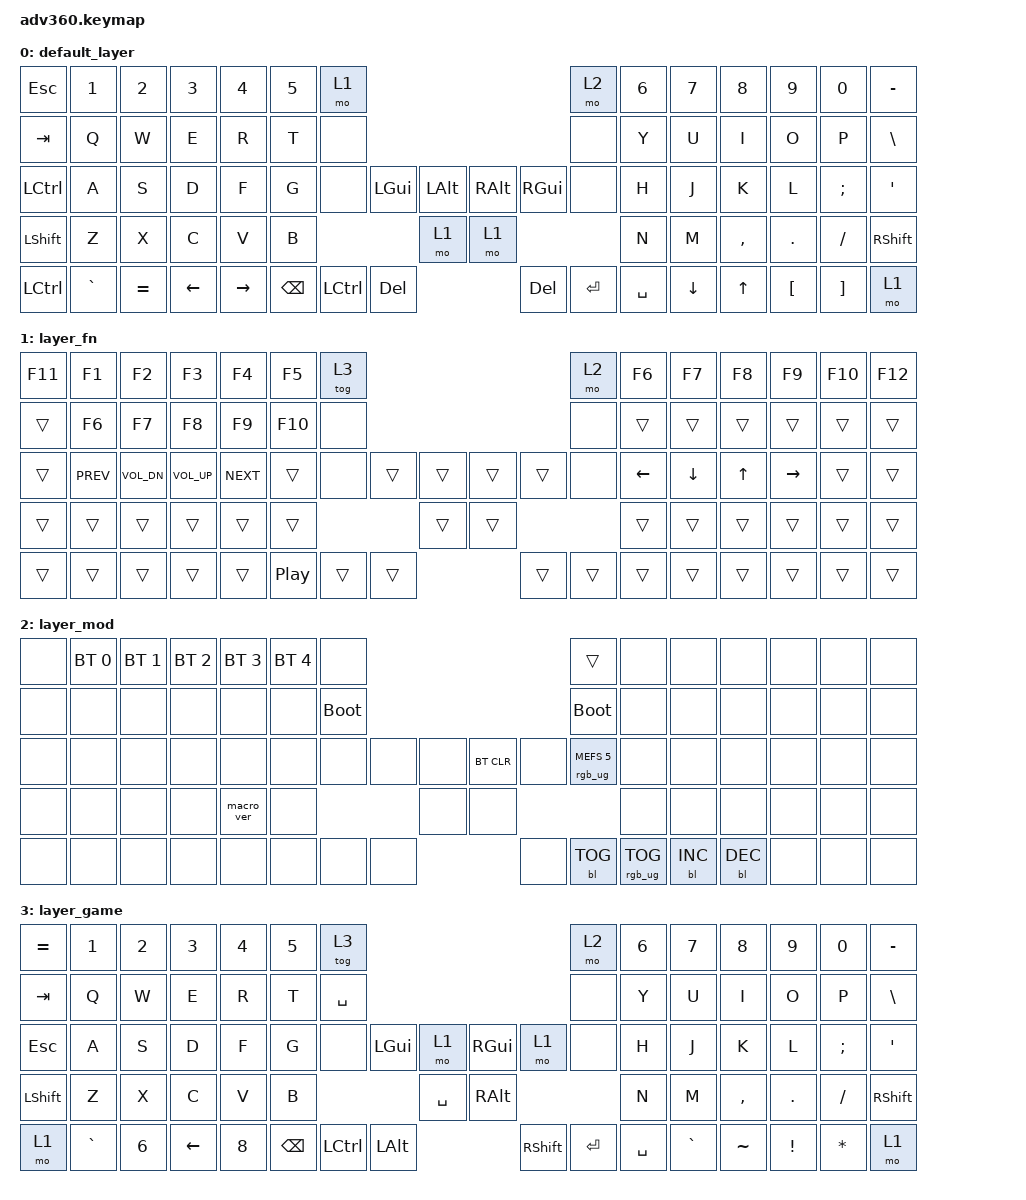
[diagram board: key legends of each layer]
/*
 * Copyright (c) 2020 The ZMK Contributors
 *
 * SPDX-License-Identifier: MIT
 */
/* THIS FILE WAS GENERATED!
 *
 * This file was generated automatically. You may or may not want to
 * edit it directly.
 */

#include <behaviors.dtsi>
#include <dt-bindings/zmk/backlight.h>
#include <dt-bindings/zmk/bt.h>
#include <dt-bindings/zmk/keys.h>
#include <dt-bindings/zmk/rgb.h>

/ {
    behaviors {
        #include "macros.dtsi"
    #include "version.dtsi"

        CARET1: CARET_1 {
            compatible = "zmk,behavior-mod-morph";
            label = "CARET_1";
            #binding-cells = <0>;
            bindings = <&kp N1>, <&kp CARET>;

            mods = <(MOD_LSFT|MOD_RSFT)>;
        };

        LBRC2: LBRC_2 {
            compatible = "zmk,behavior-mod-morph";
            label = "LBRC_2";
            #binding-cells = <0>;
            bindings = <&kp N2>, <&kp LBRC>;

            mods = <(MOD_LSFT|MOD_RSFT)>;
        };

        LBKT3: LBKT_3 {
            compatible = "zmk,behavior-mod-morph";
            label = "LBKT_3";
            #binding-cells = <0>;
            bindings = <&kp N3>, <&kp LBKT>;

            mods = <(MOD_LSFT|MOD_RSFT)>;
        };

        LPAR4: LPAR_4 {
            compatible = "zmk,behavior-mod-morph";
            label = "LPAR_4";
            #binding-cells = <0>;
            bindings = <&kp N4>, <&kp LPAR>;

            mods = <(MOD_LSFT|MOD_RSFT)>;
        };

        LT5: LT_5 {
            compatible = "zmk,behavior-mod-morph";
            label = "LT_5";
            #binding-cells = <0>;
            bindings = <&kp N5>, <&kp LT>;

            mods = <(MOD_LSFT|MOD_RSFT)>;
        };

        GT6: GT_6 {
            compatible = "zmk,behavior-mod-morph";
            label = "GT_6";
            #binding-cells = <0>;
            bindings = <&kp N6>, <&kp GT>;

            mods = <(MOD_LSFT|MOD_RSFT)>;
        };

        RPAR7: RPAR_7 {
            compatible = "zmk,behavior-mod-morph";
            label = "RPAR_7";
            #binding-cells = <0>;
            bindings = <&kp N7>, <&kp RPAR>;

            mods = <(MOD_LSFT|MOD_RSFT)>;
        };

        RBKT8: RBKT_8 {
            compatible = "zmk,behavior-mod-morph";
            label = "RBKT_8";
            #binding-cells = <0>;
            bindings = <&kp N8>, <&kp RBKT>;

            mods = <(MOD_LSFT|MOD_RSFT)>;
        };

        RBRC9: RBRC_9 {
            compatible = "zmk,behavior-mod-morph";
            label = "RBRC_9";
            #binding-cells = <0>;
            bindings = <&kp N9>, <&kp RBRC>;

            mods = <(MOD_LSFT|MOD_RSFT)>;
        };

        DLLR0: DLLR_0 {
            compatible = "zmk,behavior-mod-morph";
            label = "DLLR_0";
            #binding-cells = <0>;
            bindings = <&kp N0>, <&kp DLLR>;

            mods = <(MOD_LSFT|MOD_RSFT)>;
        };

        EXCLASTRK: EXCL_ASTRK {
            compatible = "zmk,behavior-mod-morph";
            label = "EXCL_ASTRK";
            #binding-cells = <0>;
            bindings = <&kp EXCL>, <&kp ASTRK>;

            mods = <(MOD_LSFT|MOD_RSFT)>;
        };

        AMPSPRCNT: AMPS_PRCNT {
            compatible = "zmk,behavior-mod-morph";
            label = "AMPS_PRCNT";
            #binding-cells = <0>;
            bindings = <&kp AMPS>, <&kp PRCNT>;

            mods = <(MOD_LSFT|MOD_RSFT)>;
        };

        ATHASH: AT_HASH {
            compatible = "zmk,behavior-mod-morph";
            label = "AT_HASH";
            #binding-cells = <0>;
            bindings = <&kp AT>, <&kp HASH>;

            mods = <(MOD_LSFT|MOD_RSFT)>;
        };

        LPARLT: LPARLT {
            compatible = "zmk,behavior-mod-morph";
            label = "LPARLT";
            #binding-cells = <0>;
            bindings = <&kp LEFT_PARENTHESIS>, <&kp LESS_THAN>;

            mods = <(MOD_LSFT|MOD_RSFT)>;
        };

        RPARGT: RPARGT {
            compatible = "zmk,behavior-mod-morph";
            label = "RPARGT";
            #binding-cells = <0>;
            bindings = <&kp RIGHT_PARENTHESIS>, <&kp GREATER_THAN>;

            mods = <(MOD_LSFT|MOD_RSFT)>;
        };

        BCKSPDEL: BCKSPDEL {
            compatible = "zmk,behavior-mod-morph";
            label = "BCKSPDEL";
            #binding-cells = <0>;
            bindings = <&kp BACKSPACE>, <&kp DELETE>;

            mods = <(MOD_LSFT|MOD_RSFT)>;
        };
    };

    keymap {
        compatible = "zmk,keymap";

        default_layer {
            bindings = <
&kp ESC    &kp N1     &kp N2   &kp N3    &kp N4     &kp N5 &mo 1                                                                &mo 2      &kp N6 &kp N7    &kp N8     &kp N9    &kp N0    &kp MINUS
&kp TAB    &kp Q      &kp W    &kp E     &kp R      &kp T  &none                                                                &none      &kp Y  &kp U     &kp I      &kp O     &kp P     &kp BSLH
&kp LCTRL  &kp A      &kp S    &kp D     &kp F      &kp G  &none                &kp LGUI  &kp LEFT_ALT  &kp RIGHT_ALT &kp RGUI  &none      &kp H  &kp J     &kp K      &kp L     &kp SEMI  &kp SQT
&kp LSHFT  &kp Z      &kp X    &kp C     &kp V      &kp B                                 &mo 1         &mo 1                              &kp N  &kp M     &kp COMMA  &kp DOT   &kp FSLH  &kp RSHFT
&kp LCTRL  &kp GRAVE  &kp EQUAL  &kp LEFT  &kp RIGHT              &kp BACKSPACE &kp LCTRL &kp DEL       &kp DEL       &kp ENTER &kp SPACE         &kp DOWN  &kp UP     &kp LBKT  &kp RBKT  &mo 1
            >;
        };

        layer_fn {
            bindings = <
&kp F11  &kp F1      &kp F2        &kp F3        &kp F4      &kp F5  &tog 3                                                &mo 2   &kp F6    &kp F7    &kp F8  &kp F9     &kp F10  &kp F12
&trans   &kp F6      &kp F7        &kp F8        &kp F9      &kp F10 &none                                                 &none   &trans    &trans    &trans  &trans     &trans   &trans
&trans   &kp C_PREV  &kp C_VOL_DN  &kp C_VOL_UP  &kp C_NEXT  &trans  &none             &trans  &trans      &trans  &trans  &none   &kp LEFT  &kp DOWN  &kp UP  &kp RIGHT  &trans   &trans
&trans   &trans      &trans        &trans        &trans      &trans                            &trans      &trans                  &trans    &trans    &trans  &trans     &trans   &trans
&trans   &trans      &trans        &trans        &trans              &kp C_PLAY_PAUSE  &trans  &trans      &trans  &trans  &trans            &trans    &trans  &trans     &trans   &trans
            >;
        };

        layer_mod {
            bindings = <
&none  &bt BT_SEL 0  &bt BT_SEL 1  &bt BT_SEL 2  &bt BT_SEL 3  &bt BT_SEL 4  &none                                                  &trans                  &none  &none       &none       &none  &none  &none
&none  &none         &none         &none         &none         &none         &bootloader                                            &bootloader             &none  &none       &none       &none  &none  &none
&none  &none         &none         &none         &none         &none         &none        &none  &none      &bt BT_CLR  &none       &rgb_ug RGB_MEFS_CMD 5  &none  &none       &none       &none  &none  &none
&none  &none         &none         &none         &macro_ver    &none                             &none      &none                                           &none  &none       &none       &none  &none  &none
&none  &none         &none         &none         &none                       &none        &none  &none      &none       &bl BL_TOG  &rgb_ug RGB_TOG                &bl BL_INC  &bl BL_DEC  &none  &none  &none
            >;
        };

        layer_game {
            bindings = <
&kp EQUAL  &kp NUMBER_1  &kp NUMBER_2  &kp N3    &kp NUMBER_4  &kp N5  &tog 3                                                             &mo 2      &kp N6  &kp N7     &kp N8     &kp N9    &kp N0     &kp MINUS
&kp TAB    &kp Q         &kp W         &kp E     &kp R         &kp T   &kp SPACE                                                          &none      &kp Y   &kp U      &kp I      &kp O     &kp P      &kp BSLH
&kp ESC    &kp A         &kp S         &kp D     &kp F         &kp G   &none          &kp LGUI   &mo 1             &kp RGUI    &mo 1      &none      &kp H   &kp J      &kp K      &kp L     &kp SEMI   &kp SQT
&kp LSHFT  &kp Z         &kp X         &kp C     &kp V         &kp B                             &kp SPACE         &kp RALT                          &kp N   &kp M      &kp COMMA  &kp DOT   &kp FSLH   &kp RSHFT
&mo 1      &kp GRAVE     &kp N6        &kp LEFT  &kp N8                &kp BACKSPACE  &kp LCTRL  &kp LEFT_ALT      &kp RSHIFT  &kp ENTER  &kp SPACE          &kp GRAVE  &kp TILDE  &kp EXCL  &kp ASTRK  &mo 1
            >;
        };
    };
};
